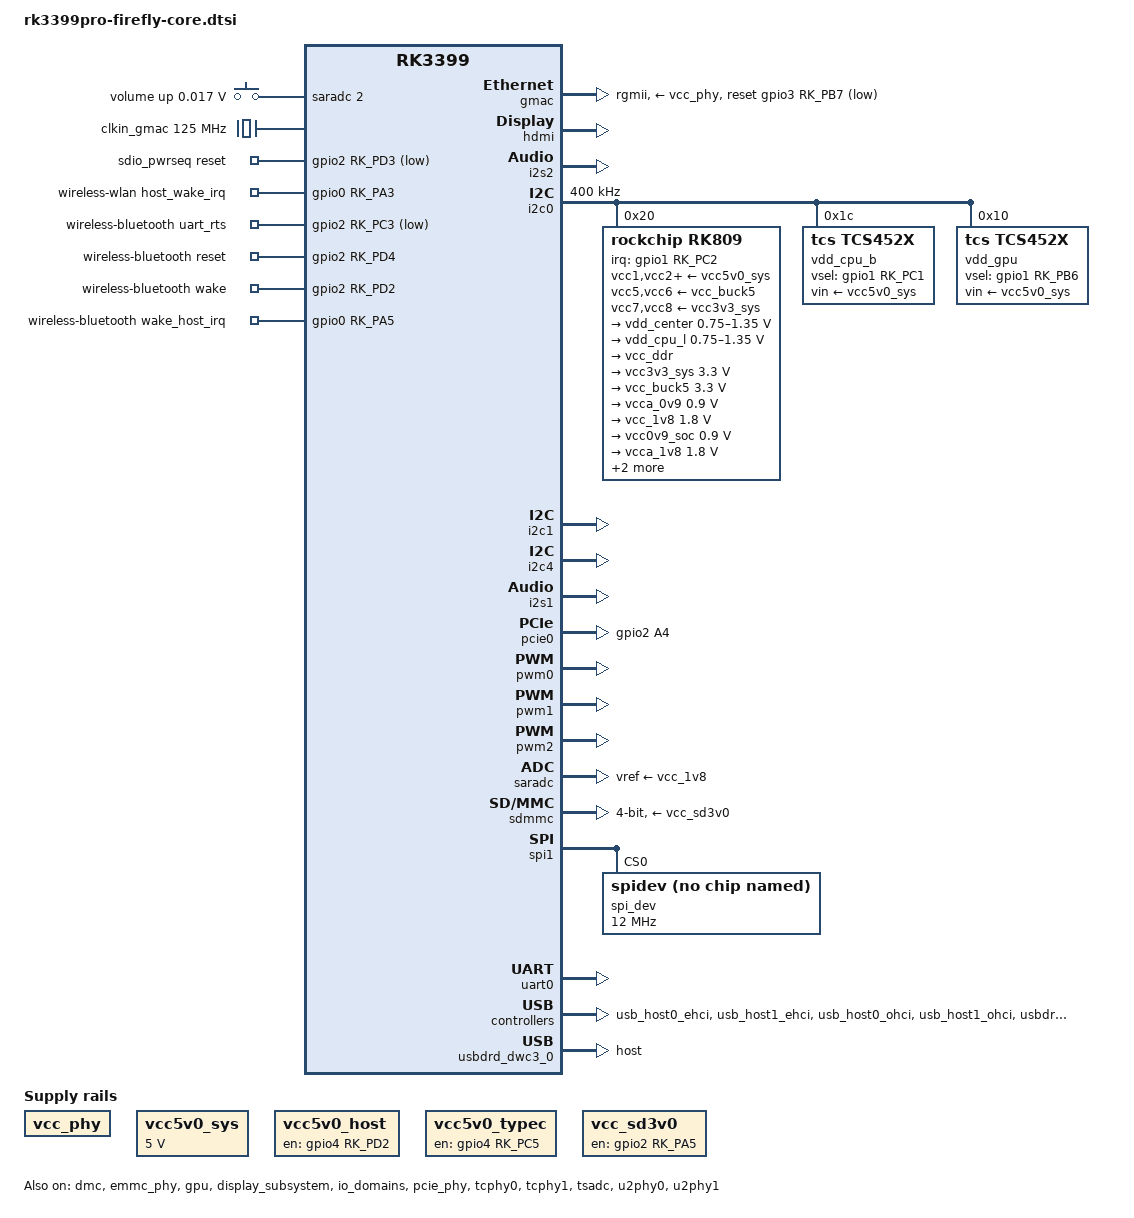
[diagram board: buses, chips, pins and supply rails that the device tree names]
// SPDX-License-Identifier: (GPL-2.0+ OR MIT)
// Copyright (c) 2018 Fuzhou Rockchip Electronics Co., Ltd

#include <dt-bindings/gpio/gpio.h>
#include <dt-bindings/pinctrl/rockchip.h>
#include <dt-bindings/input/input.h>
#include <dt-bindings/display/drm_mipi_dsi.h>
#include <dt-bindings/sensor-dev.h>
#include <dt-bindings/pwm/pwm.h>
#include "rk3399pro.dtsi"
#include "rk3399-linux.dtsi"
#include "rk3399-opp.dtsi"
#include "rk3399-vop-clk-set.dtsi"

/ {
	compatible = "rockchip,rk3399pro-firefly-core", "rockchip,rk3399pro";
	
 	chosen {
	        bootargs = "earlycon=uart8250,mmio32,0xff1a0000 swiotlb=1 console=ttyFIQ0 rw root=PARTUUID=614e0000-0000 rootfstype=ext4 rootwait systemd.gpt_auto=0";
	};
	
	fiq_debugger: fiq-debugger {
		compatible = "rockchip,fiq-debugger";
		rockchip,serial-id = <2>;
		rockchip,wake-irq = <0>;
		rockchip,irq-mode-enable = <0>;  /* If enable uart uses irq instead of fiq */
		rockchip,baudrate = <1500000>;  /* Only 115200 and 1500000 */
		pinctrl-names = "default";
		pinctrl-0 = <&uart2c_xfer>;
		interrupts = <GIC_SPI 150 IRQ_TYPE_LEVEL_HIGH 0>;
	};

	hdmi_sound: hdmi-sound {
		status = "okay";
		compatible = "simple-audio-card";
		simple-audio-card,format = "i2s";
		simple-audio-card,mclk-fs = <256>;
		simple-audio-card,name = "rockchip,hdmi";

		simple-audio-card,cpu {
			sound-dai = <&i2s2>;
		};
		simple-audio-card,codec {
			sound-dai = <&hdmi>;
		};
	};
	
	adc-keys {
		compatible = "adc-keys";
		io-channels = <&saradc 2>;
		io-channel-names = "buttons";
		poll-interval = <100>;
		keyup-threshold-microvolt = <1800000>;

		vol-up-key {
			linux,code = <KEY_VOLUMEUP>;
			label = "volume up";
			press-threshold-microvolt = <17000>;
		};
	};

	backlight: backlight {
		status = "disabled";
		compatible = "pwm-backlight";
		pwms = <&pwm0 0 25000 0>;
		brightness-levels = <
			  0  20  20  21  21  22  22  23
			 23  24  24  25  25  26  26  27
			 27  28  28  29  29  30  30  31
			 31  32  32  33  33  34  34  35
			 35  36  36  37  37  38  38  39
			 40  41  42  43  44  45  46  47
			 48  49  50  51  52  53  54  55
			 56  57  58  59  60  61  62  63
			 64  65  66  67  68  69  70  71
			 72  73  74  75  76  77  78  79
			 80  81  82  83  84  85  86  87
			 88  89  90  91  92  93  94  95
			 96  97  98  99 100 101 102 103
			104 105 106 107 108 109 110 111
			112 113 114 115 116 117 118 119
			120 121 122 123 124 125 126 127
			128 129 130 131 132 133 134 135
			136 137 138 139 140 141 142 143
			144 145 146 147 148 149 150 151
			152 153 154 155 156 157 158 159
			160 161 162 163 164 165 166 167
			168 169 170 171 172 173 174 175
			176 177 178 179 180 181 182 183
			184 185 186 187 188 189 190 191
			192 193 194 195 196 197 198 199
			200 201 202 203 204 205 206 207
			208 209 210 211 212 213 214 215
			216 217 218 219 220 221 222 223
			224 225 226 227 228 229 230 231
			232 233 234 235 236 237 238 239
			240 241 242 243 244 245 246 247
			248 249 250 251 252 253 254 255
		>;
		default-brightness-level = <200>;
		enable-gpios = <&gpio1 RK_PC5 GPIO_ACTIVE_HIGH>;
	};

	clkin_gmac: external-gmac-clock {
		compatible = "fixed-clock";
		clock-frequency = <125000000>;
		clock-output-names = "clkin_gmac";
		#clock-cells = <0>;
	};


	sdio_pwrseq: sdio-pwrseq {
		compatible = "mmc-pwrseq-simple";
		clocks = <&rk809 1>;
		clock-names = "ext_clock";
		pinctrl-names = "default";
		pinctrl-0 = <&wifi_enable_h>;

		/*
		 * On the module itself this is one of these (depending
		 * on the actual card populated):
		 * - SDIO_RESET_L_WL_REG_ON
		 * - PDN (power down when low)
		 */
		reset-gpios = <&gpio2 RK_PD3 GPIO_ACTIVE_LOW>;
	};

	vcc_phy: vcc-phy-regulator {
		compatible = "regulator-fixed";
		regulator-name = "vcc_phy";
		regulator-always-on;
		regulator-boot-on;
	};

	vcc5v0_sys: vccsys {
		compatible = "regulator-fixed";
		regulator-name = "vcc5v0_sys";
		regulator-always-on;
		regulator-boot-on;
		regulator-min-microvolt = <5000000>;
		regulator-max-microvolt = <5000000>;
	};

	wireless-wlan {
		compatible = "wlan-platdata";
		rockchip,grf = <&grf>;
		wifi_chip_type = "ap6255";
		sdio_vref = <1800>;
		WIFI,host_wake_irq = <&gpio0 RK_PA3 GPIO_ACTIVE_HIGH>;
		status = "okay";
	};

	wireless-bluetooth {
		compatible = "bluetooth-platdata";
		clocks = <&rk809 1>;
		clock-names = "ext_clock";
		uart_rts_gpios = <&gpio2 RK_PC3 GPIO_ACTIVE_LOW>;
		pinctrl-names = "default", "rts_gpio";
		pinctrl-0 = <&uart0_rts>;
		pinctrl-1 = <&uart0_gpios>;
		BT,reset_gpio    = <&gpio2 RK_PD4 GPIO_ACTIVE_HIGH>;
		BT,wake_gpio     = <&gpio2 RK_PD2 GPIO_ACTIVE_HIGH>;
		BT,wake_host_irq = <&gpio0 RK_PA5 GPIO_ACTIVE_HIGH>;
		status = "okay";
	};

        vcc5v0_host: vcc5v0-host-regulator {
                compatible = "regulator-fixed";
                enable-active-high;
                gpio = <&gpio4 RK_PD2 GPIO_ACTIVE_HIGH>;
                pinctrl-names = "default";
                pinctrl-0 = <&host_vbus_drv>;
                regulator-name = "vcc5v0_host";
                regulator-always-on;
        };
	
	vcc5v0_typec: vcc5v0_typec {
                compatible = "regulator-fixed";
                enable-active-high;
                gpio = <&gpio4 RK_PC5 GPIO_ACTIVE_HIGH>;
                pinctrl-names = "default";
                pinctrl-0 = <&host_typec>;
                regulator-name = "vcc5v0_typec";
                regulator-always-on;
        };

	vcc_sd3v0: vcc-sd3v0-regulator {
                compatible = "regulator-fixed";
                enable-active-high;
                gpio = <&gpio2 RK_PA5 GPIO_ACTIVE_HIGH>;
                pinctrl-names = "default";
                pinctrl-0 = <&sdcard_pwr>;
                regulator-name = "vcc_sd3v0";
                regulator-always-on;
        };

};


&cpu_l0 {
	cpu-supply = <&vdd_cpu_l>;
};

&cpu_l1 {
	cpu-supply = <&vdd_cpu_l>;
};

&cpu_l2 {
	cpu-supply = <&vdd_cpu_l>;
};

&cpu_l3 {
	cpu-supply = <&vdd_cpu_l>;
};

&cpu_b0 {
	cpu-supply = <&vdd_cpu_b>;
};

&cpu_b1 {
	cpu-supply = <&vdd_cpu_b>;
};

&dmc {
	status = "okay";
	center-supply = <&vdd_center>;
};

&emmc_phy {
	status = "okay";
};

&gmac {
	phy-supply = <&vcc_phy>;
	phy-mode = "rgmii";
	clock_in_out = "input";
	snps,reset-gpio = <&gpio3 RK_PB7 GPIO_ACTIVE_LOW>;
	snps,reset-active-low;
	snps,reset-delays-us = <0 10000 50000>;
	assigned-clocks = <&cru SCLK_RMII_SRC>;
	assigned-clock-parents = <&clkin_gmac>;
	pinctrl-names = "default";
	pinctrl-0 = <&rgmii_pins>;
	tx_delay = <0x28>;
	rx_delay = <0x11>;
	status = "okay";
};

&gpu {
	status = "okay";
	mali-supply = <&vdd_gpu>;
};

&gpu_power_model {
	// for DDK r14.
	voltage = <900>;
	frequency = <500>;
	static-power = <300>;
	dynamic-power = <396>;
};

&display_subsystem {
	status = "okay";
};

&hdmi {
	status = "okay";
	rockchip,phy-table =
		<74250000  0x8009 0x0004 0x0272>,
		<165000000 0x802b 0x0004 0x0209>,
		<297000000 0x8039 0x0005 0x028d>,
		<594000000 0x8039 0x0000 0x00f6>,
		<000000000 0x0000 0x0000 0x0000>;
};

&i2s2 {
	#sound-dai-cells = <0>;
	status = "okay";
};

&i2c0 {
	status = "okay";
	i2c-scl-rising-time-ns = <180>;
	i2c-scl-falling-time-ns = <30>;
	clock-frequency = <400000>;

	rk809: pmic@20 {
		compatible = "rockchip,rk809";
		reg = <0x20>;
		interrupt-parent = <&gpio1>;
		interrupts = <RK_PC2 IRQ_TYPE_LEVEL_LOW>;
		pinctrl-names = "default", "pmic-sleep",
				"pmic-power-off", "pmic-reset";
		pinctrl-0 = <&pmic_int_l>;
		pinctrl-1 = <&soc_slppin_slp>, <&rk809_slppin_slp>;
		pinctrl-2 = <&soc_slppin_gpio>, <&rk809_slppin_pwrdn>;
		pinctrl-3 = <&soc_slppin_gpio>,<&rk809_slppin_null>;
		rockchip,system-power-controller;
		pmic-reset-func = <0>;
		wakeup-source;
		#clock-cells = <1>;
		clock-output-names = "rk808-clkout1", "rk808-clkout2";

		vcc1-supply = <&vcc5v0_sys>;
		vcc2-supply = <&vcc5v0_sys>;
		vcc3-supply = <&vcc5v0_sys>;
		vcc4-supply = <&vcc5v0_sys>;
		vcc5-supply = <&vcc_buck5>;
		vcc6-supply = <&vcc_buck5>;
		vcc7-supply = <&vcc3v3_sys>;
		vcc8-supply = <&vcc3v3_sys>;
		vcc9-supply = <&vcc5v0_sys>;

		pwrkey {
			status = "okay";
		};

		rtc {
			status = "okay";
		};

		pinctrl_rk8xx: pinctrl_rk8xx {
			gpio-controller;
			#gpio-cells = <2>;

			rk809_slppin_null: rk809_slppin_null {
				pins = "gpio_slp";
				function = "pin_fun0";
			};

			rk809_slppin_slp: rk809_slppin_slp {
				pins = "gpio_slp";
				function = "pin_fun1";
			};

			rk809_slppin_pwrdn: rk809_slppin_pwrdn {
				pins = "gpio_slp";
				function = "pin_fun2";
			};

			rk809_slppin_rst: rk809_slppin_rst {
				pins = "gpio_slp";
				function = "pin_fun3";
			};
		};

		regulators {
			vdd_center: DCDC_REG1 {
				regulator-always-on;
				regulator-boot-on;
				regulator-min-microvolt = <750000>;
				regulator-max-microvolt = <1350000>;
				regulator-initial-mode = <0x2>;
				regulator-name = "vdd_center";
				regulator-state-mem {
					regulator-off-in-suspend;
					regulator-suspend-microvolt = <900000>;
				};
			};

			vdd_cpu_l: DCDC_REG2 {
				regulator-always-on;
				regulator-boot-on;
				regulator-min-microvolt = <750000>;
				regulator-max-microvolt = <1350000>;
				regulator-ramp-delay = <6001>;
				regulator-initial-mode = <0x2>;
				regulator-name = "vdd_cpu_l";
				regulator-state-mem {
					regulator-off-in-suspend;
				};
			};

			vcc_ddr: DCDC_REG3 {
				regulator-always-on;
				regulator-boot-on;
				regulator-name = "vcc_ddr";
				regulator-initial-mode = <0x2>;
				regulator-state-mem {
					regulator-on-in-suspend;
				};
			};

			vcc3v3_sys: DCDC_REG4 {
				regulator-always-on;
				regulator-boot-on;
				regulator-min-microvolt = <3300000>;
				regulator-max-microvolt = <3300000>;
				regulator-initial-mode = <0x2>;
				regulator-name = "vcc3v3_sys";
				regulator-state-mem {
					regulator-on-in-suspend;
					regulator-suspend-microvolt = <3300000>;
				};
			};

			vcc_buck5: DCDC_REG5 {
				regulator-always-on;
				regulator-boot-on;
				regulator-min-microvolt = <3300000>;
				regulator-max-microvolt = <3300000>;
				regulator-name = "vcc_buck5";
				regulator-state-mem {
					regulator-on-in-suspend;
					regulator-suspend-microvolt = <3300000>;
				};
			};

			vcca_0v9: LDO_REG1 {
				regulator-always-on;
				regulator-boot-on;
				regulator-min-microvolt = <900000>;
				regulator-max-microvolt = <900000>;
				regulator-name = "vcca_0v9";
				regulator-state-mem {
					regulator-off-in-suspend;
				};
			};

			vcc_1v8: LDO_REG2 {
				regulator-always-on;
				regulator-boot-on;
				regulator-min-microvolt = <1800000>;
				regulator-max-microvolt = <1800000>;

				regulator-name = "vcc_1v8";
				regulator-state-mem {
					regulator-on-in-suspend;
					regulator-suspend-microvolt = <1800000>;
				};
			};

			vcc0v9_soc: LDO_REG3 {
				regulator-always-on;
				regulator-boot-on;
				regulator-min-microvolt = <900000>;
				regulator-max-microvolt = <900000>;

				regulator-name = "vcc0v9_soc";
				regulator-state-mem {
					regulator-on-in-suspend;
					regulator-suspend-microvolt = <900000>;
				};
			};

			vcca_1v8: LDO_REG4 {
				regulator-always-on;
				regulator-boot-on;
				regulator-min-microvolt = <1800000>;
				regulator-max-microvolt = <1800000>;

				regulator-name = "vcca_1v8";
				regulator-state-mem {
					regulator-off-in-suspend;
				};
			};

			vdd1v5_dvp: LDO_REG5 {
				regulator-always-on;
				regulator-boot-on;
				regulator-min-microvolt = <1800000>;
				regulator-max-microvolt = <1800000>;

				regulator-name = "vdd1v5_dvp";
				regulator-state-mem {
					regulator-off-in-suspend;
				};
			};

			vcc_1v5: LDO_REG6 {
				regulator-always-on;
				regulator-boot-on;
				regulator-min-microvolt = <1500000>;
				regulator-max-microvolt = <1500000>;

				regulator-name = "vcc_1v5";
				regulator-state-mem {
					regulator-off-in-suspend;
				};
			};

			vcc_3v0: LDO_REG7 {
				regulator-always-on;
				regulator-boot-on;
				regulator-min-microvolt = <3000000>;
				regulator-max-microvolt = <3000000>;

				regulator-name = "vcc_3v0";
				regulator-state-mem {
					regulator-off-in-suspend;
				};
			};

			vccio_sd: LDO_REG8 {
				regulator-always-on;
				regulator-boot-on;
				regulator-min-microvolt = <1800000>;
				regulator-max-microvolt = <3300000>;

				regulator-name = "vccio_sd";
				regulator-state-mem {
					regulator-off-in-suspend;
				};
			};

			vcc_sd: LDO_REG9 {
				regulator-always-on;
				regulator-boot-on;
				regulator-min-microvolt = <3300000>;
				regulator-max-microvolt = <3300000>;

				regulator-name = "vcc_sd";
				regulator-state-mem {
					regulator-off-in-suspend;
				};
			};

			vcc5v0_usb: SWITCH_REG1 {
				regulator-always-on;
				regulator-boot-on;
				regulator-min-microvolt = <5000000>;
				regulator-max-microvolt = <5000000>;

				regulator-name = "vcc5v0_usb";
				regulator-state-mem {
					regulator-on-in-suspend;
					regulator-suspend-microvolt = <5000000>;
				};
			};

			vccio_3v3: SWITCH_REG2 {
				regulator-always-on;
				regulator-boot-on;
				regulator-min-microvolt = <3300000>;
				regulator-max-microvolt = <3300000>;

				regulator-name = "vccio_3v3";
				regulator-state-mem {
					regulator-off-in-suspend;
				};
			};
		};

	};
	
	vdd_cpu_b: tcs452x@1c {
		compatible = "tcs,tcs452x";
		reg = <0x1c>;
		vin-supply = <&vcc5v0_sys>;
		regulator-compatible = "fan53555-reg";
		pinctrl-0 = <&vsel1_gpio>;
		vsel-gpios = <&gpio1 RK_PC1 GPIO_ACTIVE_HIGH>;
		regulator-name = "vdd_cpu_b";
		regulator-min-microvolt = <712500>;
		regulator-max-microvolt = <1500000>;
		regulator-ramp-delay = <2300>;
		fcs,suspend-voltage-selector = <1>;
		regulator-always-on;
		regulator-boot-on;
		regulator-initial-state = <3>;
		regulator-state-mem {
			regulator-off-in-suspend;
		};
	};

	vdd_gpu: tcs452x@10 {
		compatible = "tcs,tcs452x";
		reg = <0x10>;
		vin-supply = <&vcc5v0_sys>;
		regulator-compatible = "fan53555-reg";
		pinctrl-0 = <&vsel2_gpio>;
		vsel-gpios = <&gpio1 RK_PB6 GPIO_ACTIVE_HIGH>;
		regulator-name = "vdd_gpu";
		regulator-min-microvolt = <735000>;
		regulator-max-microvolt = <1400000>;
		regulator-ramp-delay = <2300>;
		fcs,suspend-voltage-selector = <1>;
		regulator-always-on;
		regulator-boot-on;
		regulator-initial-state = <3>;
		regulator-state-mem {
			regulator-off-in-suspend;
		};
	};

	bq25700: bq25700@6b {
		compatible = "ti,bq25703";
		reg = <0x6b>;
		extcon = <&fusb0>;
		interrupt-parent = <&gpio1>;
		interrupts = <RK_PA1 IRQ_TYPE_LEVEL_LOW>;
		pinctrl-names = "default";
		pinctrl-0 = <&charger_ok_int>;
		ti,charge-current = <1500000>;
		ti,max-charge-voltage = <8704000>;
		ti,max-input-voltage = <20000000>;
		ti,max-input-current = <6000000>;
		ti,input-current-sdp = <500000>;
		ti,input-current-dcp = <2000000>;
		ti,input-current-cdp = <2000000>;
		ti,input-current-dc = <2000000>;
		ti,minimum-sys-voltage = <6700000>;
		ti,otg-voltage = <5000000>;
		ti,otg-current = <500000>;
		ti,input-current = <500000>;
		pd-charge-only = <0>;
		status = "disabled";
	};
};

&i2c1 {
	status = "okay";
	i2c-scl-rising-time-ns = <140>;
	i2c-scl-falling-time-ns = <30>;

};

&i2c4 {
	status = "okay";
	i2c-scl-rising-time-ns = <345>;
	i2c-scl-falling-time-ns = <11>;
};

&i2c8 {
	status = "disabled";
	i2c-scl-rising-time-ns = <345>;
	i2c-scl-falling-time-ns = <11>;
	clock-frequency = <100000>;

	fusb0: fusb30x@22 {
		compatible = "fairchild,fusb302";
		reg = <0x22>;
		pinctrl-names = "default";
		pinctrl-0 = <&fusb0_int>;
		int-n-gpios = <&gpio1 RK_PA2 GPIO_ACTIVE_HIGH>;
		vbus-5v-gpios = <&gpio0 RK_PA1 GPIO_ACTIVE_LOW>;
		status = "disabled";
	};

};

&i2s1 {
	status = "okay";
	#sound-dai-cells = <0>;
};

&io_domains {
	status = "okay";
	bt656-supply = <&vcc_3v0>;
	audio-supply = <&vcca_1v8>;
	sdmmc-supply = <&vccio_sd>;
	gpio1830-supply = <&vcc_3v0>;
};

&isp0_mmu {
	status = "okay";
};

&isp1_mmu {
	status = "okay";
};

&pcie_phy {
	status = "okay";
};

&pcie0 {
	status = "okay";
	ep-gpios = <&gpio2 RK_PA4 GPIO_ACTIVE_HIGH>;
    pinctrl-names = "default";
    pinctrl-0 = <&pcie_ep_gpio>;
};

&pmu_io_domains {
	status = "okay";
	pmu1830-supply = <&vcc_1v8>;
};

&pwm0 {
	status = "okay";
};

&pwm1 {
	status = "okay";
};

&pwm2 {
	status = "okay";
};

&rockchip_suspend {
	status = "okay";
	rockchip,sleep-debug-en = <1>;
	rockchip,sleep-mode-config = <
		(0
		| RKPM_SLP_ARMPD
		| RKPM_SLP_PERILPPD
		| RKPM_SLP_DDR_RET
		| RKPM_SLP_PLLPD
		| RKPM_SLP_CENTER_PD
		| RKPM_SLP_OSC_DIS
		| RKPM_SLP_AP_PWROFF
		)
	>;
	rockchip,wakeup-config = <RKPM_GPIO_WKUP_EN>;
	rockchip,pwm-regulator-config = <PWM2_REGULATOR_EN>;
	rockchip,power-ctrl =
		<&gpio1 RK_PC1 GPIO_ACTIVE_HIGH>,
		<&gpio1 RK_PB6 GPIO_ACTIVE_HIGH>;
};

&saradc {
	status = "okay";
	vref-supply = <&vcc_1v8>;
};

&sdmmc {
	clock-frequency = <150000000>;
	clock-freq-min-max = <100000 150000000>;
	supports-sd;
	bus-width = <4>;
	cap-mmc-highspeed;
	cap-sd-highspeed;
	disable-wp;
	num-slots = <1>;
	sd-uhs-sdr104;
	vmmc-supply = <&vcc_sd3v0>;
	vqmmc-supply = <&vccio_sd>;
	pinctrl-names = "default";
	pinctrl-0 = <&sdmmc_clk &sdmmc_cmd &sdmmc_cd &sdmmc_bus4>;
	status = "okay";
};

&spi1 {
	status = "okay";
	max-freq = <48000000>; /* spi internal clk, don't modify */
	spi_dev@0 {
		compatible = "rockchip,spidev";
		reg = <0>;
		spi-max-frequency = <12000000>;
		spi-lsb-first;
	};
};

&tcphy0 {
	extcon = <&fusb0>;
	status = "okay";
};

&tcphy1 {
	status = "okay";
};

&tsadc {
	rockchip,hw-tshut-mode = <1>; /* tshut mode 0:CRU 1:GPIO */
	rockchip,hw-tshut-polarity = <1>; /* tshut polarity 0:LOW 1:HIGH */
	status = "okay";
};

&u2phy0 {
	status = "okay";
	extcon = <&fusb0>;

	u2phy0_otg: otg-port {
		status = "okay";
	};

	u2phy0_host: host-port {
		phy-supply = <&vcc5v0_usb>;
		status = "okay";
	};
};

&u2phy1 {
	status = "okay";

	u2phy1_otg: otg-port {
		status = "okay";
	};

	u2phy1_host: host-port {
		phy-supply = <&vcc5v0_usb>;
		status = "okay";
	};
};

&uart0 {
	pinctrl-names = "default";
	pinctrl-0 = <&uart0_xfer &uart0_cts>;
	status = "okay";
};

&usb_host0_ehci {
	status = "okay";
};

&usb_host1_ehci {
	status = "okay";
};

&usb_host0_ohci {
	status = "okay";
};

&usb_host1_ohci {
	status = "okay";
};

&usbdrd3_0 {
	extcon = <&fusb0>;
	status = "okay";
};

&usbdrd3_1 {
	status = "okay";
};

&usbdrd_dwc3_0 {
	status = "okay";
	dr_mode = "host";
};

&usbdrd_dwc3_1 {
	status = "okay";
};

&vopb {
	assigned-clocks = <&cru DCLK_VOP0_DIV>;
	assigned-clock-parents = <&cru PLL_CPLL>;
};

&vopl {
	assigned-clocks = <&cru DCLK_VOP1_DIV>;
	assigned-clock-parents = <&cru PLL_VPLL>;
};


&pinctrl {
	pinctrl-names = "default";
	pinctrl-0 = <&npu_ref_clk>;

        usb2 {
                host_vbus_drv: host-vbus-drv {
                        rockchip,pins =
                                <4 RK_PD2 RK_FUNC_GPIO &pcfg_pull_none>;
                };
        };
	
	usb3 {
                host_typec: host-typec {
                        rockchip,pins =
                                <4 RK_PC5 RK_FUNC_GPIO &pcfg_pull_none>;
                };
        };

	bq2570 {
		charger_ok_int: charger-ok-int {
			rockchip,pins =
				<1 RK_PA1 0 &pcfg_pull_up>;
			};
	};

	fusb30x {
		fusb0_int: fusb0-int {
			rockchip,pins =
				<1 RK_PA2 0 &pcfg_pull_up>;
			};
	};

	npu_clk {
		npu_ref_clk: npu-ref-clk {
		     rockchip,pins =
			     <0 RK_PA2 1 &pcfg_pull_none>;
	     };
	};

	pmic {
		pmic_int_l: pmic-int-l {
			rockchip,pins =
				<1 RK_PC2 0 &pcfg_pull_up>;
		};
		vsel1_gpio: vsel1-gpio {
			rockchip,pins =
				<1 RK_PC1 0 &pcfg_pull_down>;
		};
		vsel2_gpio: vsel2-gpio {
			rockchip,pins =
				<1 RK_PB6 0 &pcfg_pull_down>;
		};

		soc_slppin_gpio: soc-slppin-gpio {
			rockchip,pins =
				<1 RK_PA5 0 &pcfg_output_low>;
		};

		soc_slppin_slp: soc-slppin-slp {
			rockchip,pins =
				<1 RK_PA5 1 &pcfg_pull_down>;
		};
	};

	sdio-pwrseq {
		wifi_enable_h: wifi-enable-h {
			rockchip,pins =
				<2 RK_PD3 0 &pcfg_pull_none>;
		};
		sdcard_pwr: sdcard-pwr {
			rockchip,pins =
				<2 RK_PA5 0 &pcfg_pull_none>;

		};

	};

	sdmmc {
		sdmmc_bus1: sdmmc-bus1 {
			rockchip,pins =
				<4 8 RK_FUNC_1 &pcfg_pull_up_10ma>;
		};

		sdmmc_bus4: sdmmc-bus4 {
			rockchip,pins =
				<4 8 RK_FUNC_1 &pcfg_pull_up_10ma>,
				<4 9 RK_FUNC_1 &pcfg_pull_up_10ma>,
				<4 10 RK_FUNC_1 &pcfg_pull_up_10ma>,
				<4 11 RK_FUNC_1 &pcfg_pull_up_10ma>;
		};

		sdmmc_clk: sdmmc-clk {
			rockchip,pins =
				<4 12 RK_FUNC_1 &pcfg_pull_none_10ma>;
		};

		sdmmc_cmd: sdmmc-cmd {
			rockchip,pins =
				<4 13 RK_FUNC_1 &pcfg_pull_up_10ma>;
		};
	};

	wireless-bluetooth {
		uart0_gpios: uart0-gpios {
			rockchip,pins =
				<2 RK_PC3 0 &pcfg_pull_none>;
		};
	};
	pcie {
		pcie_ep_gpio: pcie-ep-gpio{
		    rockchip,pins = <2 RK_PA4 RK_FUNC_GPIO &pcfg_pull_none>;
		};
		pcie_3g_drv: pcie-3g-drv {
		    rockchip,pins = <1 RK_PA1 RK_FUNC_GPIO &pcfg_pull_up>;
		};
	};

};

